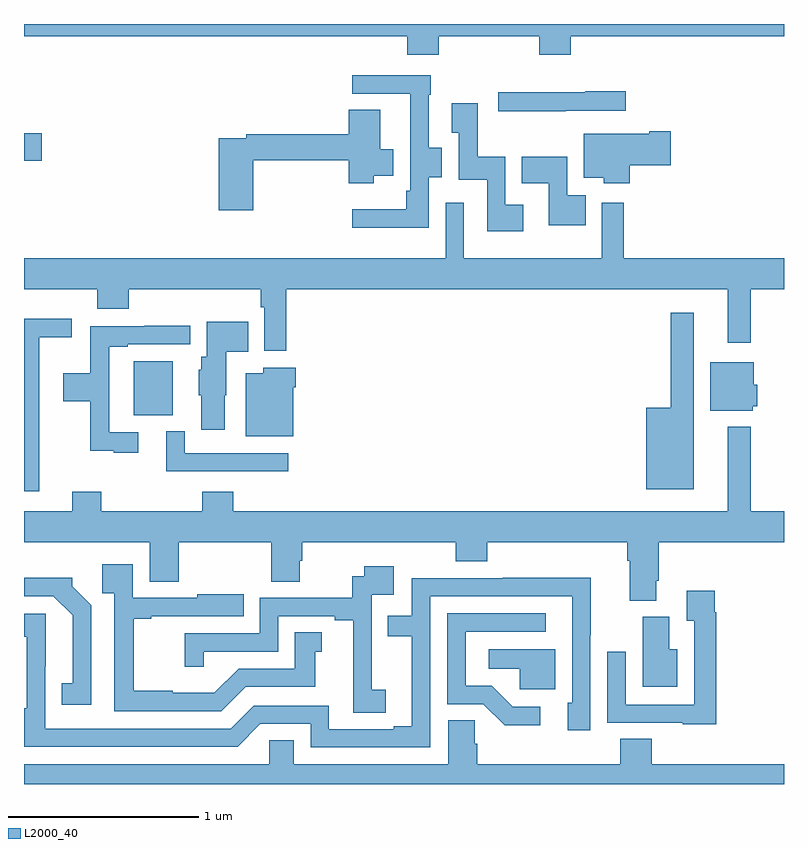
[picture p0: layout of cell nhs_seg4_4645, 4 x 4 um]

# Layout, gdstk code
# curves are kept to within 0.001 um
import gdstk
lib = gdstk.Library(unit=1e-6, precision=1e-09)
def R(c, l, rs):  # rectangles x0, y0, x1, y1
    for r in rs: c.add(gdstk.rectangle(r[:2], r[2:], *l))
def P(c, l, *ps):  # polygons
    for p in ps: c.add(gdstk.Polygon(p, *l))
L2000_40 = (2000, 40)

nhs_seg4_4645 = lib.new_cell('nhs_seg4_4645')
R(nhs_seg4_4645, L2000_40, [(361.577,778.841,361.783,779.125), (361,780.179,361.093,780.326)])
P(nhs_seg4_4645, L2000_40, [(363.182,780.836),(363.713,780.836),(363.713,780.737),(363.878,780.737),(363.878,780.836),(365,780.836),(365,780.9),(361,780.9),(361,780.836),(363.017,780.836),(363.017,780.737),(363.182,780.737)],
  [(363.129,780.094),(363.199,780.094),(363.199,780.249),(363.129,780.249),(363.129,780.527),(363.142,780.527),(363.142,780.63),(362.727,780.63),(362.727,780.534),(363.032,780.534),(363.032,780.337),(363.033,780.337),(363.033,780.022),(363.013,780.022),(363.013,779.926),(362.727,779.926),(362.727,779.828),(363.129,779.828)],
  [(363.851,780.444),(364.168,780.444),(364.168,780.545),(363.955,780.545),(363.955,780.542),(363.495,780.542),(363.495,780.442),(363.851,780.442)],
  [(363.628,779.95),(363.534,779.95),(363.534,780.202),(363.387,780.202),(363.387,780.484),(363.251,780.484),(363.251,780.328),(363.288,780.328),(363.288,780.08),(363.438,780.08),(363.438,779.81),(363.628,779.81)],
  [(362.207,780.184),(362.708,780.184),(362.708,780.062),(362.842,780.062),(362.842,780.101),(362.944,780.101),(362.944,780.241),(362.875,780.241),(362.875,780.449),(362.708,780.449),(362.708,780.32),(362.17,780.32),(362.17,780.3),(362.024,780.3),(362.024,779.919),(362.207,779.919)],
  [(364.187,780.157),(364.405,780.157),(364.405,780.335),(364.292,780.335),(364.292,780.322),(363.947,780.322),(363.947,780.092),(364.052,780.092),(364.052,780.062),(364.187,780.062)],
  [(363.956,779.998),(363.858,779.998),(363.858,780.202),(363.619,780.202),(363.619,780.062),(363.761,780.062),(363.761,779.84),(363.956,779.84)],
  [(362.381,779.504),(364.703,779.504),(364.703,779.223),(364.825,779.223),(364.825,779.504),(365,779.504),(365,779.668),(364.157,779.668),(364.157,779.959),(364.041,779.959),(364.041,779.668),(363.315,779.668),(363.315,779.959),(363.219,779.959),(363.219,779.668),(361,779.668),(361,779.504),(361.385,779.504),(361.385,779.402),(361.55,779.402),(361.55,779.504),(362.245,779.504),(362.245,779.408),(362.265,779.408),(362.265,779.181),(362.381,779.181)],
  [(364.525,779.38),(364.404,779.38),(364.404,778.879),(364.274,778.879),(364.274,778.451),(364.525,778.451)],
  [(361.081,779.252),(361.252,779.252),(361.252,779.35),(361,779.35),(361,778.44),(361.081,778.44)],
  [(362.056,778.947),(362.065,778.947),(362.065,779.174),(362.18,779.174),(362.18,779.332),(361.961,779.332),(361.961,779.148),(361.934,779.148),(361.934,779.079),(361.919,779.079),(361.919,778.947),(361.934,778.947),(361.934,778.764),(362.056,778.764)],
  [(361.6,778.752),(361.449,778.752),(361.449,779.202),(361.546,779.202),(361.546,779.214),(361.876,779.214),(361.876,779.312),(361.633,779.312),(361.633,779.31),(361.348,779.31),(361.348,779.062),(361.206,779.062),(361.206,778.915),(361.348,778.915),(361.348,778.655),(361.472,778.655),(361.472,778.644),(361.6,778.644)],
  [(364.836,778.887),(364.858,778.887),(364.858,779.001),(364.84,779.001),(364.84,779.119),(364.613,779.119),(364.613,778.865),(364.836,778.865)],
  [(362.416,778.988),(362.429,778.988),(362.429,779.092),(362.258,779.092),(362.258,779.062),(362.168,779.062),(362.168,778.73),(362.416,778.73)],
  [(361.661,777.964),(361.814,777.964),(361.814,778.172),(362.3,778.172),(362.3,777.964),(362.452,777.964),(362.452,778.074),(362.465,778.074),(362.465,778.172),(363.272,778.172),(363.272,778.073),(363.437,778.073),(363.437,778.172),(364.175,778.172),(364.175,778.076),(364.187,778.076),(364.187,777.865),(364.327,777.865),(364.327,777.97),(364.34,777.97),(364.34,778.172),(365,778.172),(365,778.336),(364.825,778.336),(364.825,778.78),(364.703,778.78),(364.703,778.336),(362.102,778.336),(362.102,778.438),(361.937,778.438),(361.937,778.336),(361.406,778.336),(361.406,778.438),(361.253,778.438),(361.253,778.336),(361,778.336),(361,778.172),(361.661,778.172)],
  [(362.392,778.641),(361.845,778.641),(361.845,778.756),(361.748,778.756),(361.748,778.545),(362.392,778.545)],
  [(362.166,777.411),(362.533,777.411),(362.533,777.595),(362.566,777.595),(362.566,777.698),(362.426,777.698),(362.426,777.507),(362.13,777.507),(362.002,777.379),(361.784,777.379),(361.784,777.391),(361.577,777.391),(361.577,777.771),(361.669,777.771),(361.669,777.783),(362.156,777.783),(362.156,777.898),(361.913,777.898),(361.913,777.879),(361.572,777.879),(361.572,778.057),(361.411,778.057),(361.411,777.905),(361.476,777.905),(361.476,777.282),(362.037,777.282)],
  [(362.905,777.396),(362.831,777.396),(362.831,777.593),(362.829,777.593),(362.829,777.897),(362.947,777.897),(362.947,778.045),(362.791,778.045),(362.791,777.993),(362.728,777.993),(362.728,777.879),(362.241,777.879),(362.241,777.693),(361.846,777.693),(361.846,777.516),(361.947,777.516),(361.947,777.597),(362.337,777.597),(362.337,777.783),(362.636,777.783),(362.636,777.763),(362.732,777.763),(362.732,777.385),(362.734,777.385),(362.734,777.274),(362.905,777.274)],
  [(363.138,777.888),(363.885,777.888),(363.885,777.327),(363.863,777.327),(363.863,777.183),(363.981,777.183),(363.981,777.682),(363.983,777.682),(363.983,777.986),(363.52,777.986),(363.52,777.984),(363.042,777.984),(363.042,777.786),(362.914,777.786),(362.914,777.678),(363.041,777.678),(363.041,777.204),(362.945,777.204),(362.945,777.189),(362.604,777.189),(362.604,777.312),(362.208,777.312),(362.088,777.192),(361.113,777.192),(361.114,777.796),(361,777.796),(361,777.675),(361.015,777.675),(361.015,777.299),(361,777.299),(361,777.096),(362.124,777.096),(362.244,777.216),(362.508,777.216),(362.508,777.093),(363.138,777.093)],
  [(361.353,777.842),(361.254,777.941),(361.254,777.986),(361,777.986),(361,777.888),(361.155,777.888),(361.256,777.787),(361.256,777.431),(361.198,777.431),(361.198,777.318),(361.353,777.318)],
  [(364.643,777.803),(364.636,777.803),(364.636,777.916),(364.487,777.916),(364.487,777.76),(364.527,777.76),(364.527,777.318),(364.167,777.318),(364.167,777.595),(364.071,777.595),(364.071,777.222),(364.467,777.222),(364.467,777.215),(364.643,777.215)],
  [(363.718,777.306),(363.573,777.306),(363.462,777.417),(363.324,777.417),(363.324,777.702),(363.745,777.702),(363.745,777.798),(363.228,777.798),(363.228,777.321),(363.417,777.321),(363.53,777.209),(363.718,777.209)],
  [(364.438,777.61),(364.396,777.61),(364.396,777.78),(364.256,777.78),(364.256,777.413),(364.438,777.413)],
  [(363.796,777.61),(363.447,777.61),(363.447,777.506),(363.609,777.506),(363.609,777.399),(363.796,777.399)],
  [(365,777.004),(364.304,777.004),(364.304,777.137),(364.139,777.137),(364.139,777.004),(363.386,777.004),(363.386,777.113),(363.372,777.113),(363.372,777.236),(363.233,777.236),(363.233,777.004),(362.419,777.004),(362.419,777.131),(362.292,777.131),(362.292,777.004),(361,777.004),(361,776.9),(365,776.9)])

lib.write_gds('nhs_seg4_4645.gds')
